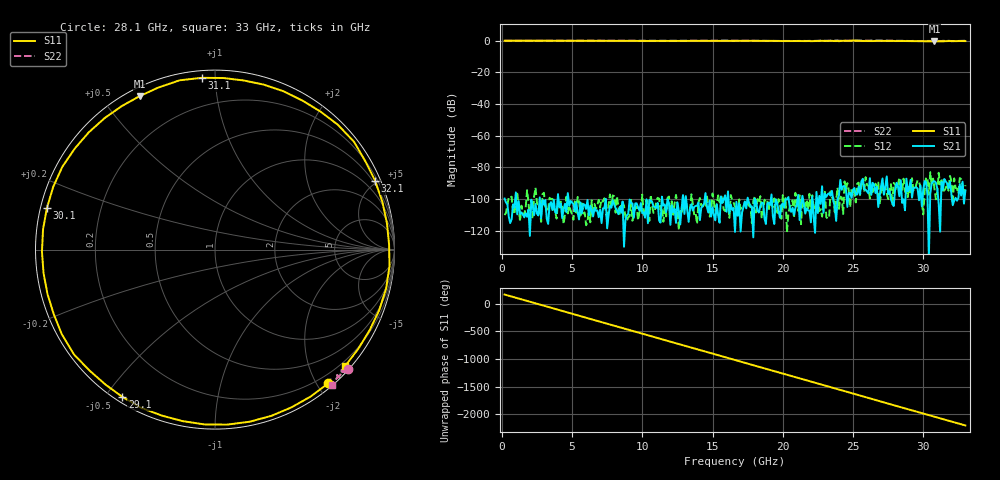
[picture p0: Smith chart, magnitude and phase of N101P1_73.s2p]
# GHZ S RI R 50
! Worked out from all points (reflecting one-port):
!   329 points, 200 MHz to 33 GHz, reference 50 ohm
!   lowest |S11| = -0.4 dB at 30.8 GHz (marker M1), VSWR 41.11, Z = 1.69 + j31.1 ohm
!   phase of S11 starts at 165 deg and turns -2367 deg over the sweep
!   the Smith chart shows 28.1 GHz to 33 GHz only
!   S11 on the Smith chart (normalised r, x): 28.1 GHz: 0.07, -2.15; 29.1 GHz: 0.02, -0.55; 30.1 GHz: 0.02, +0.12; 31.1 GHz: 0.04, +0.93; 32.1 GHz: 0.36, +4.83; 33 GHz: 0.11, -2.62
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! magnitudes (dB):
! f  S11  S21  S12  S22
! 200 MHz  0.0  -99.7  -110.2  0.0
! 5.7 GHz  0.0  -109.1  -101.5  0.0
! 11.2 GHz  -0.2  -113.7  -99.8  -0.1
! 16.6 GHz  -0.1  -120.8  -104.9  0.0
! 22.1 GHz  -0.3  -98.3  -97.7  -0.2
! 22.7 GHz  0.0  -103.2  -106.5  0.1
! 23 GHz  -0.2  -96.6  -94.7  -0.1
! 23.4 GHz  0.0  -97.9  -95.3  0.1
! 23.9 GHz  -0.2  -100.1  -92.9  0.2
! 24 GHz  -0.3  -97.7  -106.3  -0.1
! 24.3 GHz  -0.1  -92.0  -109.5  0.0
! 25 GHz  0.1  -94.2  -95.1  0.1
! 25.6 GHz  -0.2  -88.8  -89.7  0.1
! 27.6 GHz  -0.2  -95.1  -94.9  0.0
! 28.1 GHz  -0.2  -89.8  -93.6  0.0
! 29.1 GHz  -0.3  -87.9  -97.2  -0.2
! 30.1 GHz  -0.3  -88.7  -95.2  -0.1
! 30.8 GHz  -0.4  -88.8  -93.7  -0.2
! 31.1 GHz  -0.4  -103.1  -83.5  -0.2
! 31.8 GHz  -0.2  -93.4  -94.8  -0.1
! 32.1 GHz  -0.3  -104.0  -103.3  -0.3
! 33 GHz  -0.2  -94.6  -91.4  0.0
